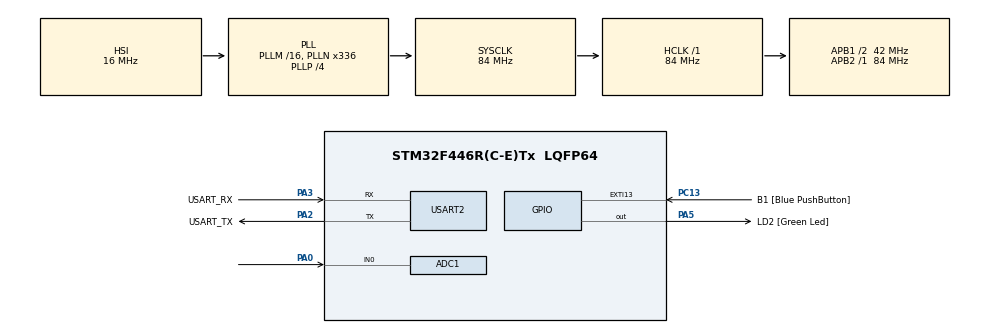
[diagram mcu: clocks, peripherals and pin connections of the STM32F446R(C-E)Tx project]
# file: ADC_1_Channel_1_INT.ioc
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ADC1.Channel-0\#ChannelRegularConversion=ADC_CHANNEL_0
ADC1.NbrOfConversionFlag=1
ADC1.Rank-0\#ChannelRegularConversion=1
ADC1.SamplingTime-0\#ChannelRegularConversion=ADC_SAMPLETIME_3CYCLES
ADC1.master=1
Mcu.Family=STM32F4
Mcu.Name=STM32F446R(C-E)Tx
Mcu.Package=LQFP64
NVIC.ADC_IRQn=true\:0\:0\:false\:false\:true\:true\:true\:true
NVIC.PriorityGroup=NVIC_PRIORITYGROUP_0
PA0-WKUP.Signal=ADCx_IN0
PA13.GPIO_Label=TMS
PA13.Mode=Serial_Wire
PA13.Signal=SYS_JTMS-SWDIO
PA14.GPIO_Label=TCK
PA14.Mode=Serial_Wire
PA14.Signal=SYS_JTCK-SWCLK
PA2.GPIO_Label=USART_TX
PA2.Mode=Asynchronous
PA2.Signal=USART2_TX
PA3.GPIO_Label=USART_RX
PA3.Mode=Asynchronous
PA3.Signal=USART2_RX
PA5.GPIO_Label=LD2 [Green Led]
PA5.Signal=GPIO_Output
PB3.GPIO_Label=SWO
PB3.Signal=SYS_JTDO-SWO
PC13.GPIO_Label=B1 [Blue PushButton]
PC13.GPIO_ModeDefaultEXTI=GPIO_MODE_IT_FALLING
PC13.Signal=GPXTI13
PC14-OSC32_IN.Mode=LSE-External-Oscillator
PC14-OSC32_IN.Signal=RCC_OSC32_IN
PC15-OSC32_OUT.Mode=LSE-External-Oscillator
PC15-OSC32_OUT.Signal=RCC_OSC32_OUT
PH0-OSC_IN.Mode=HSE-External-Oscillator
PH0-OSC_IN.Signal=RCC_OSC_IN
PH1-OSC_OUT.Mode=HSE-External-Oscillator
PH1-OSC_OUT.Signal=RCC_OSC_OUT
ProjectManager.HeapSize=0x200
ProjectManager.StackSize=0x400
ProjectManager.TargetToolchain=STM32CubeIDE
RCC.48MHZClocksFreq_Value=84000000
RCC.AHBFreq_Value=84000000
RCC.APB1CLKDivider=RCC_HCLK_DIV2
RCC.APB1Freq_Value=42000000
RCC.APB1TimFreq_Value=84000000
RCC.APB2Freq_Value=84000000
RCC.APB2TimFreq_Value=84000000
RCC.CortexFreq_Value=84000000
RCC.FLatency-AdvancedSettings=FLASH_LATENCY_2
RCC.HCLKFreq_Value=84000000
RCC.HSE_VALUE=8000000
RCC.HSI_VALUE=16000000
RCC.PLLN=336
RCC.PLLP=RCC_PLLP_DIV4
RCC.SYSCLKFreq_VALUE=84000000
RCC.SYSCLKSource=RCC_SYSCLKSOURCE_PLLCLK
RCC.USBFreq_Value=168000000
RCC.VCOOutputFreq_Value=336000000
SH.ADCx_IN0.0=ADC1_IN0,IN0
USART2.VirtualMode=VM_ASYNC
board=NUCLEO-F446RE

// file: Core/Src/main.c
/* USER CODE BEGIN Header */
/**
  ******************************************************************************
  * @file           : main.c
  * @brief          : Main program body
  ******************************************************************************
  * @attention
  *
  * Copyright (c) 2023 STMicroelectronics.
  * All rights reserved.
  *
  * This software is licensed under terms that can be found in the LICENSE file
  * in the root directory of this software component.
  * If no LICENSE file comes with this software, it is provided AS-IS.
  *
  ******************************************************************************
  */
/* USER CODE END Header */
#include "main.h"

/* USER CODE BEGIN Includes */
#include <stdio.h>
#include <string.h>
#include <stdbool.h>

/* USER CODE END Includes */

ADC_HandleTypeDef hadc1;

UART_HandleTypeDef huart2;

/* USER CODE BEGIN PV */

uint16_t ADC_Value;
char Tx_Data[20] = {0};
bool wait = 0;
/* USER CODE END PV */

void SystemClock_Config(void);
static void MX_GPIO_Init(void);
static void MX_USART2_UART_Init(void);
static void MX_ADC1_Init(void);

int main(void)
{

  /* MCU Configuration--------------------------------------------------------*/

  /* Reset of all peripherals, Initializes the Flash interface and the Systick. */
  HAL_Init();

  /* Configure the system clock */
  SystemClock_Config();

  /* Initialize all configured peripherals */
  MX_GPIO_Init();
  MX_USART2_UART_Init();
  MX_ADC1_Init();
  /* USER CODE BEGIN 2 */
  HAL_ADC_Start_IT(&hadc1);
  /* USER CODE END 2 */

  /* Infinite loop */
  /* USER CODE BEGIN WHILE */
  while (1)
  {
	  if(wait){

		  sprintf(Tx_Data, " ADC : %04d\r\n",ADC_Value);
		  HAL_UART_Transmit(&huart2,(uint8_t *) Tx_Data, strlen(Tx_Data), HAL_MAX_DELAY);
		  wait = 0;
		  HAL_ADC_Start_IT(&hadc1);
	  }
	  HAL_Delay(200);
    /* USER CODE END WHILE */

  }
}

void SystemClock_Config(void)
{
  RCC_OscInitTypeDef RCC_OscInitStruct = {0};
  RCC_ClkInitTypeDef RCC_ClkInitStruct = {0};

  /** Configure the main internal regulator output voltage
  */
  __HAL_RCC_PWR_CLK_ENABLE();
  __HAL_PWR_VOLTAGESCALING_CONFIG(PWR_REGULATOR_VOLTAGE_SCALE3);

  /** Initializes the RCC Oscillators according to the specified parameters
  * in the RCC_OscInitTypeDef structure.
  */
  RCC_OscInitStruct.OscillatorType = RCC_OSCILLATORTYPE_HSI;
  RCC_OscInitStruct.HSIState = RCC_HSI_ON;
  RCC_OscInitStruct.HSICalibrationValue = RCC_HSICALIBRATION_DEFAULT;
  RCC_OscInitStruct.PLL.PLLState = RCC_PLL_ON;
  RCC_OscInitStruct.PLL.PLLSource = RCC_PLLSOURCE_HSI;
  RCC_OscInitStruct.PLL.PLLM = 16;
  RCC_OscInitStruct.PLL.PLLN = 336;
  RCC_OscInitStruct.PLL.PLLP = RCC_PLLP_DIV4;
  RCC_OscInitStruct.PLL.PLLQ = 2;
  RCC_OscInitStruct.PLL.PLLR = 2;
  if (HAL_RCC_OscConfig(&RCC_OscInitStruct) != HAL_OK)
  {
    Error_Handler();
  }

  /** Initializes the CPU, AHB and APB buses clocks
  */
  RCC_ClkInitStruct.ClockType = RCC_CLOCKTYPE_HCLK|RCC_CLOCKTYPE_SYSCLK
                              |RCC_CLOCKTYPE_PCLK1|RCC_CLOCKTYPE_PCLK2;
  RCC_ClkInitStruct.SYSCLKSource = RCC_SYSCLKSOURCE_PLLCLK;
  RCC_ClkInitStruct.AHBCLKDivider = RCC_SYSCLK_DIV1;
  RCC_ClkInitStruct.APB1CLKDivider = RCC_HCLK_DIV2;
  RCC_ClkInitStruct.APB2CLKDivider = RCC_HCLK_DIV1;

  if (HAL_RCC_ClockConfig(&RCC_ClkInitStruct, FLASH_LATENCY_2) != HAL_OK)
  {
    Error_Handler();
  }
}

static void MX_ADC1_Init(void)
{

  ADC_ChannelConfTypeDef sConfig = {0};

  /** Configure the global features of the ADC (Clock, Resolution, Data Alignment and number of conversion)
  */
  hadc1.Instance = ADC1;
  hadc1.Init.ClockPrescaler = ADC_CLOCK_SYNC_PCLK_DIV4;
  hadc1.Init.Resolution = ADC_RESOLUTION_12B;
  hadc1.Init.ScanConvMode = DISABLE;
  hadc1.Init.ContinuousConvMode = DISABLE;
  hadc1.Init.DiscontinuousConvMode = DISABLE;
  hadc1.Init.ExternalTrigConvEdge = ADC_EXTERNALTRIGCONVEDGE_NONE;
  hadc1.Init.ExternalTrigConv = ADC_SOFTWARE_START;
  hadc1.Init.DataAlign = ADC_DATAALIGN_RIGHT;
  hadc1.Init.NbrOfConversion = 1;
  hadc1.Init.DMAContinuousRequests = DISABLE;
  hadc1.Init.EOCSelection = ADC_EOC_SINGLE_CONV;
  if (HAL_ADC_Init(&hadc1) != HAL_OK)
  {
    Error_Handler();
  }

  /** Configure for the selected ADC regular channel its corresponding rank in the sequencer and its sample time.
  */
  sConfig.Channel = ADC_CHANNEL_0;
  sConfig.Rank = 1;
  sConfig.SamplingTime = ADC_SAMPLETIME_3CYCLES;
  if (HAL_ADC_ConfigChannel(&hadc1, &sConfig) != HAL_OK)
  {
    Error_Handler();
  }

}

static void MX_USART2_UART_Init(void)
{

  huart2.Instance = USART2;
  huart2.Init.BaudRate = 115200;
  huart2.Init.WordLength = UART_WORDLENGTH_8B;
  huart2.Init.StopBits = UART_STOPBITS_1;
  huart2.Init.Parity = UART_PARITY_NONE;
  huart2.Init.Mode = UART_MODE_TX_RX;
  huart2.Init.HwFlowCtl = UART_HWCONTROL_NONE;
  huart2.Init.OverSampling = UART_OVERSAMPLING_16;
  if (HAL_UART_Init(&huart2) != HAL_OK)
  {
    Error_Handler();
  }

}

static void MX_GPIO_Init(void)
{
  GPIO_InitTypeDef GPIO_InitStruct = {0};

  /* GPIO Ports Clock Enable */
  __HAL_RCC_GPIOC_CLK_ENABLE();
  __HAL_RCC_GPIOH_CLK_ENABLE();
  __HAL_RCC_GPIOA_CLK_ENABLE();
  __HAL_RCC_GPIOB_CLK_ENABLE();

  /*Configure GPIO pin Output Level */
  HAL_GPIO_WritePin(LD2_GPIO_Port, LD2_Pin, GPIO_PIN_RESET);

  /*Configure GPIO pin : B1_Pin */
  GPIO_InitStruct.Pin = B1_Pin;
  GPIO_InitStruct.Mode = GPIO_MODE_IT_FALLING;
  GPIO_InitStruct.Pull = GPIO_NOPULL;
  HAL_GPIO_Init(B1_GPIO_Port, &GPIO_InitStruct);

  /*Configure GPIO pin : LD2_Pin */
  GPIO_InitStruct.Pin = LD2_Pin;
  GPIO_InitStruct.Mode = GPIO_MODE_OUTPUT_PP;
  GPIO_InitStruct.Pull = GPIO_NOPULL;
  GPIO_InitStruct.Speed = GPIO_SPEED_FREQ_LOW;
  HAL_GPIO_Init(LD2_GPIO_Port, &GPIO_InitStruct);

}

/* USER CODE BEGIN 4 */

void HAL_ADC_ConvCpltCallback(ADC_HandleTypeDef* hadc)
{
  /* Prevent unused argument(s) compilation warning */

	if(hadc == &hadc1){

		ADC_Value = HAL_ADC_GetValue(&hadc1);
		wait = 1;
	}
  UNUSED(hadc);
  /* NOTE : This function Should not be modified, when the callback is needed,
            the HAL_ADC_ConvCpltCallback could be implemented in the user file
   */
}
/* USER CODE END 4 */

void Error_Handler(void)
{
  __disable_irq();
  while (1)
  {
  }
}
